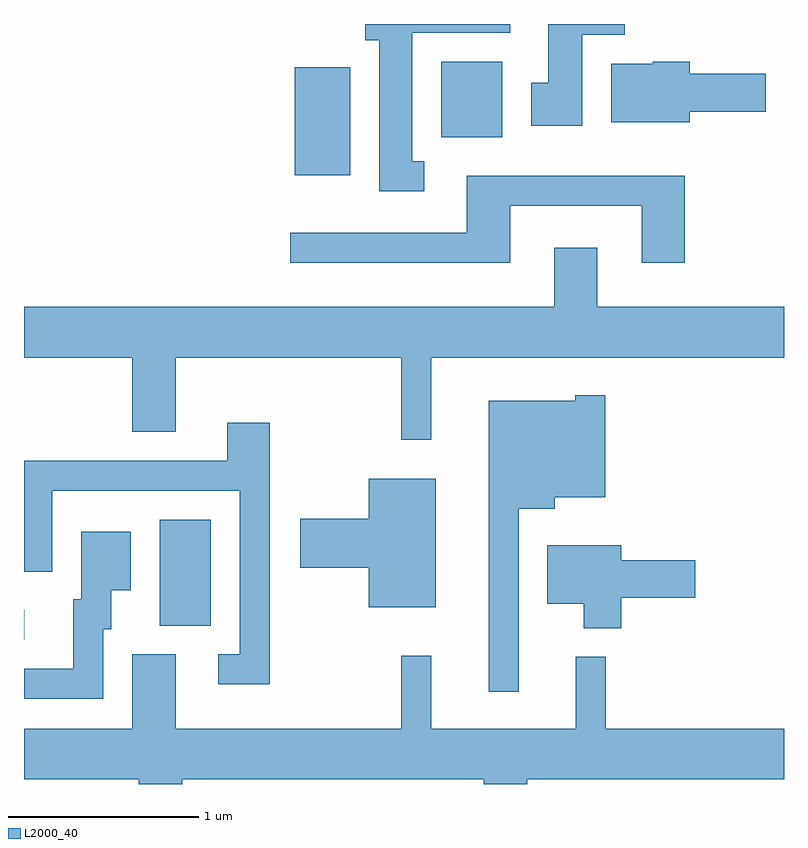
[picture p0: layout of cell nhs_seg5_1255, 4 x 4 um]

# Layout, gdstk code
import gdstk
lib = gdstk.Library(unit=1e-6, precision=1e-09)
def R(c, l, rs):  # rectangles x0, y0, x1, y1
    for r in rs: c.add(gdstk.rectangle(r[:2], r[2:], *l))
def P(c, l, *ps):  # polygons
    for p in ps: c.add(gdstk.Polygon(p, *l))
L2000_40 = (2000, 40)

nhs_seg5_1255 = lib.new_cell('nhs_seg5_1255')
R(nhs_seg5_1255, L2000_40, [(221.611,1490.831,221.613,1490.989), (222.326,1490.906,222.594,1491.464), (223.036,1493.276,223.329,1493.844), (223.806,1493.476,224.129,1493.874)])
P(nhs_seg5_1255, L2000_40, [(224.549,1494.016),(224.774,1494.016),(224.774,1494.072),(224.371,1494.072),(224.371,1493.764),(224.281,1493.764),(224.281,1493.536),(224.549,1493.536)],
  [(223.718,1493.349),(223.654,1493.349),(223.654,1494.026),(224.169,1494.026),(224.169,1494.072),(223.406,1494.072),(223.406,1493.986),(223.481,1493.986),(223.481,1493.191),(223.718,1493.191)],
  [(225.114,1493.611),(225.514,1493.611),(225.514,1493.809),(225.114,1493.809),(225.114,1493.874),(224.92,1493.874),(224.92,1493.864),(224.701,1493.864),(224.701,1493.556),(225.114,1493.556)],
  [(224.169,1493.116),(224.861,1493.116),(224.861,1492.816),(225.089,1492.816),(225.089,1493.274),(223.941,1493.274),(223.941,1492.974),(223.013,1492.974),(223.013,1492.816),(224.169,1492.816)],
  [(223.754,1492.316),(225.611,1492.316),(225.611,1492.584),(224.629,1492.584),(224.629,1492.894),(224.401,1492.894),(224.401,1492.584),(221.611,1492.584),(221.611,1492.316),(222.181,1492.316),(222.181,1491.926),(222.409,1491.926),(222.409,1492.316),(223.596,1492.316),(223.596,1491.883),(223.754,1491.883)],
  [(224.214,1491.521),(224.404,1491.521),(224.404,1491.581),(224.669,1491.581),(224.669,1492.119),(224.511,1492.119),(224.511,1492.089),(224.056,1492.089),(224.056,1490.558),(224.214,1490.558)],
  [(222.904,1491.974),(222.681,1491.974),(222.681,1491.774),(221.611,1491.774),(221.611,1491.188),(221.759,1491.188),(221.759,1491.616),(222.746,1491.616),(222.746,1490.754),(222.633,1490.754),(222.633,1490.596),(222.904,1490.596)],
  [(223.779,1491.679),(223.426,1491.679),(223.426,1491.469),(223.066,1491.469),(223.066,1491.211),(223.426,1491.211),(223.426,1491.001),(223.779,1491.001)],
  [(222.029,1490.886),(222.069,1490.886),(222.069,1491.091),(222.174,1491.091),(222.174,1491.399),(221.911,1491.399),(221.911,1491.044),(221.871,1491.044),(221.871,1490.679),(221.611,1490.679),(221.611,1490.521),(222.029,1490.521)],
  [(224.754,1491.051),(225.144,1491.051),(225.144,1491.249),(224.754,1491.249),(224.754,1491.329),(224.366,1491.329),(224.366,1491.021),(224.556,1491.021),(224.556,1490.891),(224.754,1490.891)],
  [(222.444,1490.096),(224.031,1490.096),(224.031,1490.072),(224.259,1490.072),(224.259,1490.096),(225.611,1490.096),(225.611,1490.364),(224.674,1490.364),(224.674,1490.743),(224.516,1490.743),(224.516,1490.364),(223.754,1490.364),(223.754,1490.748),(223.596,1490.748),(223.596,1490.364),(222.409,1490.364),(222.409,1490.754),(222.181,1490.754),(222.181,1490.364),(221.611,1490.364),(221.611,1490.096),(222.216,1490.096),(222.216,1490.072),(222.444,1490.072)])

lib.write_gds('nhs_seg5_1255.gds')
